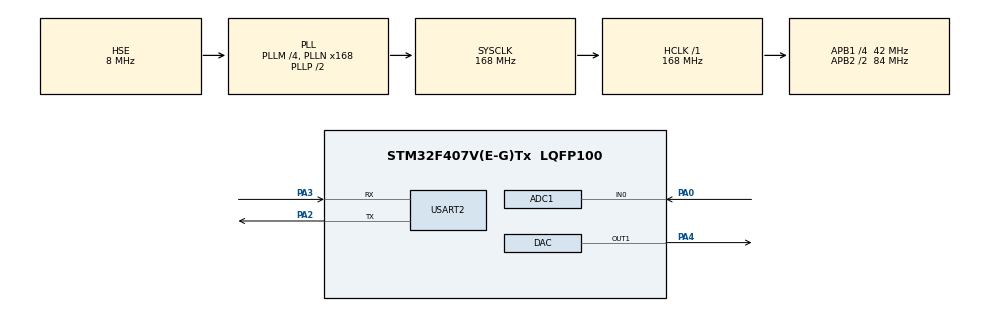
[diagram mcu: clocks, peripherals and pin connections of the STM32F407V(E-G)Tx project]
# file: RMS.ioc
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ADC1.Channel-0\#ChannelRegularConversion=ADC_CHANNEL_0
ADC1.NbrOfConversion=1
ADC1.NbrOfConversionFlag=1
ADC1.Rank-0\#ChannelRegularConversion=1
ADC1.SamplingTime-0\#ChannelRegularConversion=ADC_SAMPLETIME_3CYCLES
ADC1.master=1
DAC.DAC_Trigger=DAC_TRIGGER_T2_TRGO
Dma.ADC1.0.Direction=DMA_PERIPH_TO_MEMORY
Dma.ADC1.0.FIFOMode=DMA_FIFOMODE_DISABLE
Dma.ADC1.0.Instance=DMA2_Stream0
Dma.ADC1.0.MemDataAlignment=DMA_MDATAALIGN_HALFWORD
Dma.ADC1.0.MemInc=DMA_MINC_ENABLE
Dma.ADC1.0.Mode=DMA_NORMAL
Dma.ADC1.0.PeriphDataAlignment=DMA_PDATAALIGN_HALFWORD
Dma.ADC1.0.PeriphInc=DMA_PINC_DISABLE
Dma.ADC1.0.Priority=DMA_PRIORITY_LOW
Dma.Request0=ADC1
Dma.Request1=TIM2_UP/CH3
Dma.TIM2_UP/CH3.1.Direction=DMA_PERIPH_TO_MEMORY
Dma.TIM2_UP/CH3.1.FIFOMode=DMA_FIFOMODE_DISABLE
Dma.TIM2_UP/CH3.1.Instance=DMA1_Stream1
Dma.TIM2_UP/CH3.1.MemDataAlignment=DMA_MDATAALIGN_WORD
Dma.TIM2_UP/CH3.1.MemInc=DMA_MINC_ENABLE
Dma.TIM2_UP/CH3.1.Mode=DMA_CIRCULAR
Dma.TIM2_UP/CH3.1.PeriphDataAlignment=DMA_PDATAALIGN_WORD
Dma.TIM2_UP/CH3.1.PeriphInc=DMA_PINC_DISABLE
Dma.TIM2_UP/CH3.1.Priority=DMA_PRIORITY_HIGH
Mcu.Family=STM32F4
Mcu.Name=STM32F407V(E-G)Tx
Mcu.Package=LQFP100
NVIC.DMA1_Stream1_IRQn=true\:0\:0\:false\:false\:true\:false\:true\:true
NVIC.DMA2_Stream0_IRQn=true\:0\:0\:false\:false\:true\:false\:true\:true
NVIC.PriorityGroup=NVIC_PRIORITYGROUP_0
NVIC.TIM2_IRQn=true\:0\:0\:false\:false\:true\:true\:true\:true
NVIC.TIM6_DAC_IRQn=true\:0\:0\:false\:false\:true\:true\:true\:true
NVIC.USART2_IRQn=true\:0\:0\:false\:false\:true\:true\:true\:true
PA0-WKUP.Signal=ADCx_IN0
PA13.Mode=Serial_Wire
PA13.Signal=SYS_JTMS-SWDIO
PA14.Mode=Serial_Wire
PA14.Signal=SYS_JTCK-SWCLK
PA2.Mode=Asynchronous
PA2.Signal=USART2_TX
PA3.Mode=Asynchronous
PA3.Signal=USART2_RX
PA4.Signal=COMP_DAC1_group
PH0-OSC_IN.Mode=HSE-External-Oscillator
PH0-OSC_IN.Signal=RCC_OSC_IN
PH1-OSC_OUT.Mode=HSE-External-Oscillator
PH1-OSC_OUT.Signal=RCC_OSC_OUT
ProjectManager.HeapSize=0x200
ProjectManager.StackSize=0x400
ProjectManager.TargetToolchain=STM32CubeIDE
RCC.48MHZClocksFreq_Value=48000000
RCC.AHBFreq_Value=168000000
RCC.APB1CLKDivider=RCC_HCLK_DIV4
RCC.APB1Freq_Value=42000000
RCC.APB1TimFreq_Value=84000000
RCC.APB2CLKDivider=RCC_HCLK_DIV2
RCC.APB2Freq_Value=84000000
RCC.APB2TimFreq_Value=168000000
RCC.CortexFreq_Value=168000000
RCC.HCLKFreq_Value=168000000
RCC.HSE_VALUE=8000000
RCC.HSI_VALUE=16000000
RCC.PLLM=4
RCC.PLLN=168
RCC.PLLQ=7
RCC.PLLSourceVirtual=RCC_PLLSOURCE_HSE
RCC.SYSCLKFreq_VALUE=168000000
RCC.SYSCLKSource=RCC_SYSCLKSOURCE_PLLCLK
RCC.VCOOutputFreq_Value=336000000
SH.ADCx_IN0.0=ADC1_IN0,IN0
SH.COMP_DAC1_group.0=DAC_OUT1,DAC_OUT1
TIM2.Period=100-1
TIM2.Prescaler=84-1
TIM2.TIM_MasterOutputTrigger=TIM_TRGO_UPDATE
USART2.VirtualMode=VM_ASYNC
VP_TIM2_VS_ClockSourceITR.Mode=TriggerSource_ITR1
VP_TIM2_VS_ControllerModeClock.Mode=Clock Mode
board=STM32F407G-DISC1

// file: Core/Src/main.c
/* USER CODE BEGIN Header */
/**
  ******************************************************************************
  * @file           : main.c
  * @brief          : Main program body
  ******************************************************************************
  * @attention
  *
  * Copyright (c) 2026 STMicroelectronics.
  * All rights reserved.
  *
  * This software is licensed under terms that can be found in the LICENSE file
  * in the root directory of this software component.
  * If no LICENSE file comes with this software, it is provided AS-IS.
  *
  ******************************************************************************
  */
/* USER CODE END Header */
#include "main.h"
#include "adc.h"
#include "dac.h"
#include "dma.h"
#include "tim.h"
#include "usart.h"
#include "gpio.h"

/* USER CODE BEGIN Includes */
#include "stdio.h"
#include "stdlib.h"
/* USER CODE END Includes */

void SystemClock_Config(void);

/* USER CODE BEGIN 0 */
int _write(int fd, char *ptr, int len)
{
	HAL_StatusTypeDef hstatus;
	if(fd==1 || fd==2)
	{
		hstatus =  HAL_UART_Transmit(&huart2, (uint8_t *)ptr, len, HAL_MAX_DELAY);
		  return len;

		  if(hstatus == HAL_OK)
		  return len;

		  else
			  return -1;
	}
	return -1;
}
uint32_t count = 0;
void HAL_TIM_PeriodElapsedCallback(TIM_HandleTypeDef *htim)
{
	count ++;
}
/* USER CODE END 0 */

int main(void)
{

  /* MCU Configuration--------------------------------------------------------*/

  /* Reset of all peripherals, Initializes the Flash interface and the Systick. */
  HAL_Init();

  /* Configure the system clock */
  SystemClock_Config();

  /* Initialize all configured peripherals */
  MX_GPIO_Init();
  MX_DMA_Init();
  MX_ADC1_Init();
  MX_DAC_Init();
  MX_TIM2_Init();
  MX_USART2_UART_Init();
  /* USER CODE BEGIN 2 */
  HAL_TIM_Base_Start_IT(&htim2);
  /* USER CODE END 2 */

  /* Infinite loop */
  /* USER CODE BEGIN WHILE */
  uint32_t now = 0, next_tick = 1000;
  uint32_t loop_cnt =0;

  while (1)
  {
    /* USER CODE END WHILE */

    /* USER CODE BEGIN 3 */
	  now = uwTick;
	  if(now>= next_tick)
	  {
		  printf("Tick %lu (loop = %lu , cb = %lu)\n", now/1000,loop_cnt,count);
		  loop_cnt = 0;
		  next_tick = now + 1000;
	  }
	  loop_cnt ++;
  }
  /* USER CODE END 3 */
}

void SystemClock_Config(void)
{
  RCC_OscInitTypeDef RCC_OscInitStruct = {0};
  RCC_ClkInitTypeDef RCC_ClkInitStruct = {0};

  /** Configure the main internal regulator output voltage
  */
  __HAL_RCC_PWR_CLK_ENABLE();
  __HAL_PWR_VOLTAGESCALING_CONFIG(PWR_REGULATOR_VOLTAGE_SCALE1);

  /** Initializes the RCC Oscillators according to the specified parameters
  * in the RCC_OscInitTypeDef structure.
  */
  RCC_OscInitStruct.OscillatorType = RCC_OSCILLATORTYPE_HSE;
  RCC_OscInitStruct.HSEState = RCC_HSE_ON;
  RCC_OscInitStruct.PLL.PLLState = RCC_PLL_ON;
  RCC_OscInitStruct.PLL.PLLSource = RCC_PLLSOURCE_HSE;
  RCC_OscInitStruct.PLL.PLLM = 4;
  RCC_OscInitStruct.PLL.PLLN = 168;
  RCC_OscInitStruct.PLL.PLLP = RCC_PLLP_DIV2;
  RCC_OscInitStruct.PLL.PLLQ = 7;
  if (HAL_RCC_OscConfig(&RCC_OscInitStruct) != HAL_OK)
  {
    Error_Handler();
  }

  /** Initializes the CPU, AHB and APB buses clocks
  */
  RCC_ClkInitStruct.ClockType = RCC_CLOCKTYPE_HCLK|RCC_CLOCKTYPE_SYSCLK
                              |RCC_CLOCKTYPE_PCLK1|RCC_CLOCKTYPE_PCLK2;
  RCC_ClkInitStruct.SYSCLKSource = RCC_SYSCLKSOURCE_PLLCLK;
  RCC_ClkInitStruct.AHBCLKDivider = RCC_SYSCLK_DIV1;
  RCC_ClkInitStruct.APB1CLKDivider = RCC_HCLK_DIV4;
  RCC_ClkInitStruct.APB2CLKDivider = RCC_HCLK_DIV2;

  if (HAL_RCC_ClockConfig(&RCC_ClkInitStruct, FLASH_LATENCY_5) != HAL_OK)
  {
    Error_Handler();
  }
}

void Error_Handler(void)
{
  __disable_irq();
  while (1)
  {
  }
}
